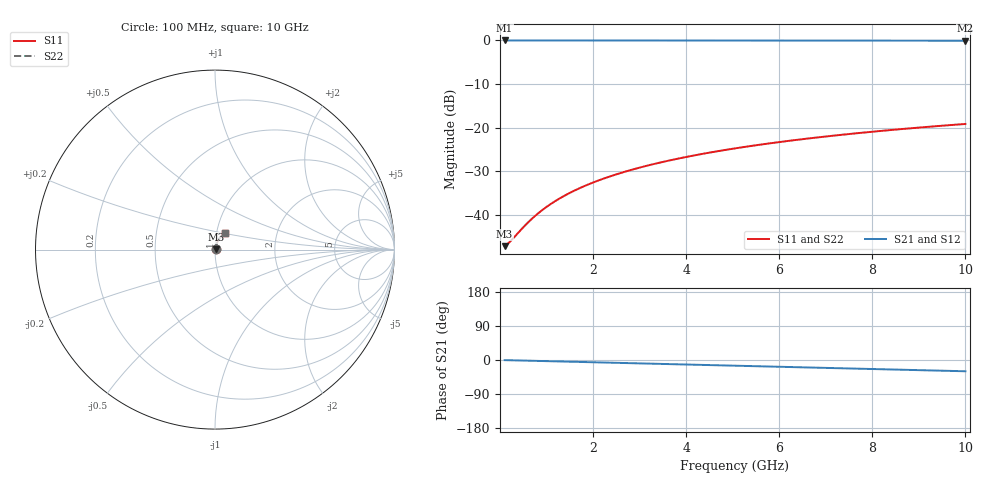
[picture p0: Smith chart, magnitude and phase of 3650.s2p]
# Hz S RI R 50.00
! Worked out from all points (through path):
!   100 points, 100 MHz to 10 GHz, reference 50 ohm
!   highest |S21| = -0.04 dB at 100 MHz (marker M1); lowest = -0.1 dB at 10 GHz (marker M2)
!   group delay of S21, straight-line fit = 8.26 ps
!   lowest |S11| = -47.2 dB at 100 MHz (marker M3), VSWR 1.01, Z = 50.4 + j0.114 ohm
!   |S11| at or under -10 dB: start of sweep to end of sweep
!   |S22| runs from -47.2 to -19.2 dB; largest |S21 - S12| = 0
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1e8  0.00424 0.00113  0.9958 -0.00517  0.9958 -0.00517  0.00424 0.00113
2e8  0.00428 0.00227  0.9957 -0.0103  0.9957 -0.0103  0.00428 0.00227
5e8  0.00445 0.00567  0.9953 -0.0259  0.9953 -0.0259  0.00445 0.00567
6e8  0.00453 0.0068  0.9952 -0.031  0.9952 -0.031  0.00453 0.0068
7e8  0.00461 0.00793  0.995 -0.0362  0.995 -0.0362  0.00461 0.00793
9e8  0.00482 0.0102  0.9945 -0.0465  0.9945 -0.0465  0.00482 0.0102
1.1e9  0.00507 0.0124  0.9939 -0.0569  0.9939 -0.0569  0.00507 0.0124
1.3e9  0.00537 0.0147  0.9932 -0.0672  0.9932 -0.0672  0.00537 0.0147
1.5e9  0.00571 0.0169  0.9924 -0.0775  0.9924 -0.0775  0.00571 0.0169
1.8e9  0.00631 0.0203  0.991 -0.093  0.991 -0.093  0.00631 0.0203
2.1e9  0.00701 0.0236  0.9893 -0.1084  0.9893 -0.1084  0.00701 0.0236
2.5e9  0.0081 0.028  0.9867 -0.1289  0.9867 -0.1289  0.0081 0.028
2.9e9  0.00938 0.0323  0.9836 -0.1494  0.9836 -0.1494  0.00938 0.0323
3.4e9  0.0112 0.0377  0.9792 -0.1748  0.9792 -0.1748  0.0112 0.0377
3.8e9  0.0129 0.0419  0.9751 -0.1951  0.9751 -0.1951  0.0129 0.0419
4.2e9  0.0147 0.046  0.9706 -0.2152  0.9706 -0.2152  0.0147 0.046
5.1e9  0.0195 0.055  0.959 -0.2602  0.959 -0.2602  0.0195 0.055
5.9e9  0.0244 0.0626  0.9468 -0.2996  0.9468 -0.2996  0.0244 0.0626
6.7e9  0.03 0.0697  0.9329 -0.3384  0.9329 -0.3384  0.03 0.0697
7.5e9  0.0361 0.0763  0.9174 -0.3765  0.9174 -0.3765  0.0361 0.0763
8.4e9  0.0436 0.0831  0.8981 -0.4185  0.8981 -0.4185  0.0436 0.0831
1e10  0.0583 0.0934  0.8589 -0.4905  0.8589 -0.4905  0.0583 0.0934
